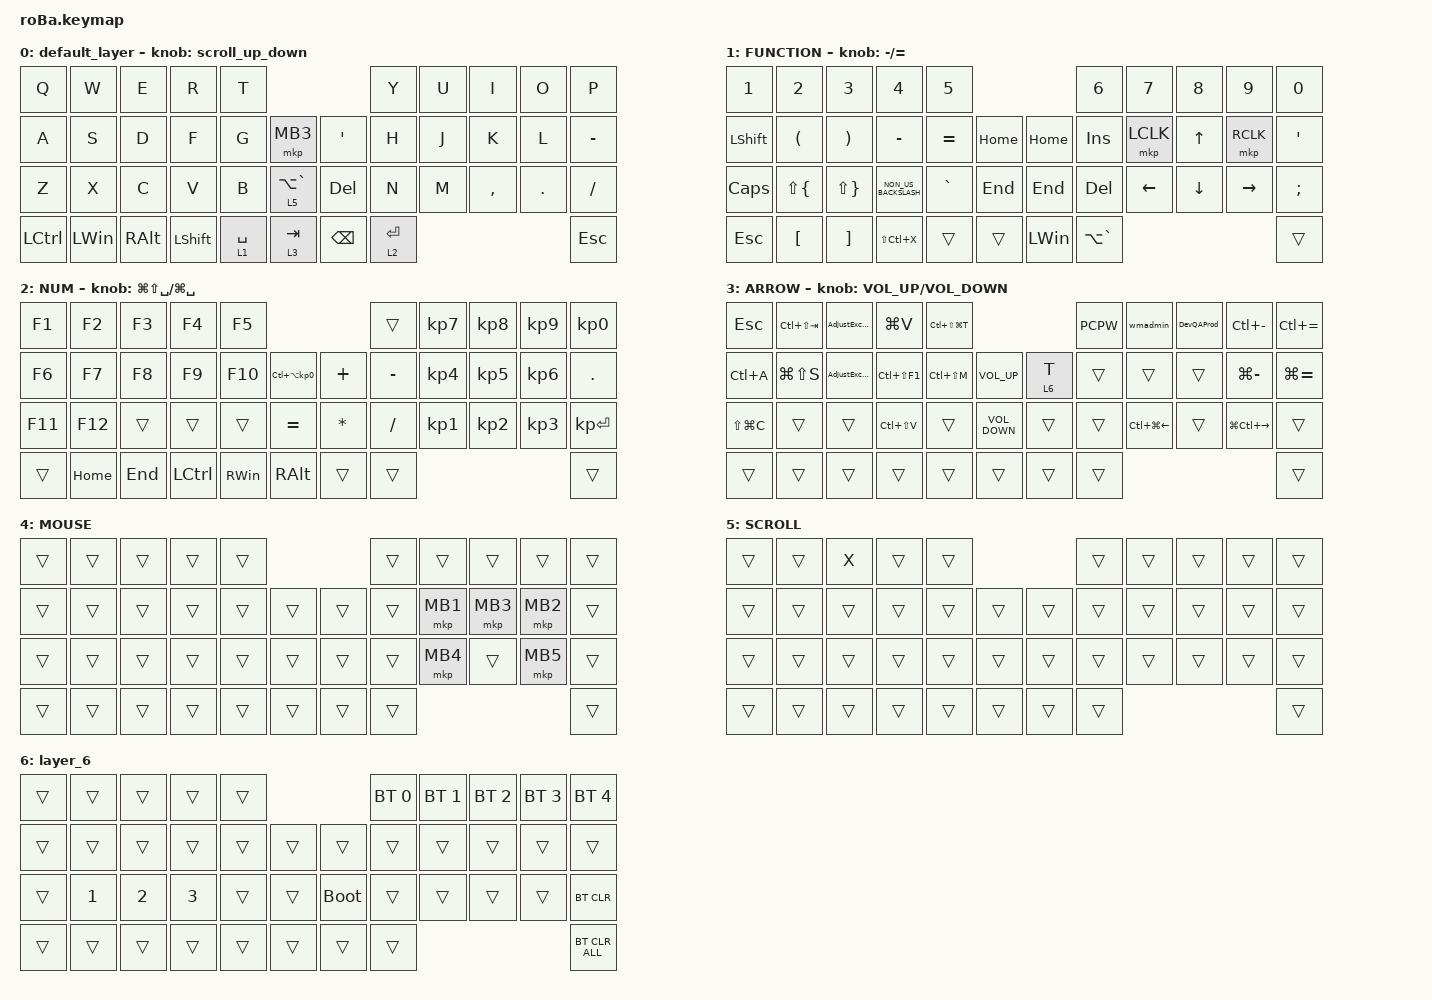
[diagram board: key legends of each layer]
#include <behaviors.dtsi>
#include <dt-bindings/zmk/bt.h>
#include <dt-bindings/zmk/keys.h>
#include <dt-bindings/zmk/pointing.h>
#include <dt-bindings/zmk/pointing.h>

#undef ZMK_POINTING_DEFAULT_SCRL_VAL

#define ZMK_POINTING_DEFAULT_SCRL_VAL 100
#define MOUSE 0
#define SCROLL 3
#define NUM 6

&mt {
    flavor = "balanced";
    quick-tap-ms = <0>;
};

/ {
    behaviors {
        scroll_up_down: behavior_sensor_rotate_mouse_wheel_up_down {
            compatible = "zmk,behavior-sensor-rotate";
            #sensor-binding-cells = <0>;
            bindings = <&msc SCRL_UP>, <&msc SCRL_DOWN>;

            tap-ms = <20>;
        };
    };

    combos { compatible = "zmk,combos"; };

    macros {
        to_layer_0: to_layer_0 {
            compatible = "zmk,behavior-macro-one-param";
            #binding-cells = <1>;
            bindings = <&to 0 &macro_param_1to1 &kp MACRO_PLACEHOLDER>;
            label = "TO_LAYER_0";
        };

        PCPW: PCPW {
            compatible = "zmk,behavior-macro";
            #binding-cells = <0>;
            bindings = <&kp LS(D) &kp N &kp A &kp W &kp O &kp D &kp E &kp NUMBER_1 &kp NUMBER_2 &kp NUMBER_3>;
            label = "PCPW";
        };

        wmadmin: wmadmin {
            compatible = "zmk,behavior-macro";
            #binding-cells = <0>;
            bindings = <&kp HOME &kp LS(END) &kp W &kp M &kp A &kp D &kp M &kp I &kp N &kp TAB &kp W &kp I &kp S &kp M &kp E &kp T &kp T &kp A &kp C &kp N1 &kp ENTER>;
            label = "WMADMIN";
        };

        DevQAProd: DevQAProd {
            compatible = "zmk,behavior-macro";
            #binding-cells = <0>;
            bindings = <&kp HOME &kp LS(END) &kp J &kp I &kp Z &kp H &kp O &kp U &kp TAB &kp LS(D) &kp N &kp A &kp W &kp O &kp D &kp E &kp AT &kp N1 &kp N2 &kp N3 &kp ENTER>;
            label = "DEVQAPROD";
        };

        AdjustExcelWidth: AdjustExcelWidth {
            compatible = "zmk,behavior-macro";
            #binding-cells = <0>;
            bindings = <&kp LEFT_ALT &kp H &kp O &kp I>;
            label = "ADJUSTEXCELWIDTH";
        };

        AdjustExcelHeight: AdjustExcelHeight {
            compatible = "zmk,behavior-macro";
            #binding-cells = <0>;
            bindings = <&kp LEFT_ALT &kp H &kp O &kp A>;
            label = "ADJUSTEXCELHEIGHT";
        };
    };

    keymap {
        compatible = "zmk,keymap";

        default_layer {
            bindings = <
&kp Q      &kp W         &kp E          &kp R       &kp T                                               &kp Y        &kp U  &kp I      &kp O    &kp P
&kp A      &kp S         &kp D          &kp F       &kp G        &mkp MB3             &kp SINGLE_QUOTE  &kp H        &kp J  &kp K      &kp L    &kp MINUS
&kp Z      &kp X         &kp C          &kp V       &kp B        &lt 5 LA(GRAVE)      &kp DELETE        &kp N        &kp M  &kp COMMA  &kp DOT  &kp SLASH
&kp LCTRL  &kp LEFT_WIN  &kp RIGHT_ALT  &kp LSHIFT  &lt 1 SPACE  &lt 3 TAB            &kp BACKSPACE     &lt 2 ENTER                             &kp ESCAPE
            >;

            sensor-bindings = <&scroll_up_down>;
        };

        FUNCTION {
            bindings = <
&kp NUMBER_1    &kp NUMBER_2          &kp NUMBER_3         &kp NUMBER_4          &kp NUMBER_5                              &kp NUMBER_6   &kp N7     &kp N8        &kp N9     &kp N0
&kp LEFT_SHIFT  &kp LEFT_PARENTHESIS  &kp RPAR             &kp MINUS             &kp EQUAL     &kp HOME      &kp HOME      &kp INSERT     &mkp LCLK  &kp UP_ARROW  &mkp RCLK  &kp SQT
&kp CAPSLOCK    &kp LS(LEFT_BRACE)    &kp LS(RIGHT_BRACE)  &kp NON_US_BACKSLASH  &kp GRAVE     &kp END       &kp END       &kp DELETE     &kp LEFT   &kp DOWN      &kp RIGHT  &kp SEMICOLON
&kp ESC         &kp LEFT_BRACKET      &kp RIGHT_BRACKET    &kp LS(LC(X))         &trans        &trans        &kp LEFT_WIN  &kp LA(GRAVE)                                      &trans
            >;

            sensor-bindings = <&inc_dec_kp MINUS EQUAL>;
        };

        NUM {
            bindings = <
&kp F1   &kp F2    &kp F3   &kp F4     &kp F5                                                    &trans     &kp KP_NUMBER_7  &kp KP_NUMBER_8  &kp KP_NUMBER_9  &kp KP_NUMBER_0
&kp F6   &kp F7    &kp F8   &kp F9     &kp F10        &kp LC(LA(KP_NUMBER_0))      &kp PLUS      &kp MINUS  &kp KP_NUMBER_4  &kp KP_NUMBER_5  &kp KP_NUMBER_6  &kp PERIOD
&kp F11  &kp F12   &trans   &trans     &trans         &kp EQUAL                    &kp ASTERISK  &kp SLASH  &kp KP_NUMBER_1  &kp KP_NUMBER_2  &kp KP_NUMBER_3  &kp KP_ENTER
&trans   &kp HOME  &kp END  &kp LCTRL  &kp RIGHT_WIN  &kp RIGHT_ALT                &trans        &trans                                                        &trans
            >;

            sensor-bindings = <&inc_dec_kp LG(LS(SPACE)) LG(SPACE)>;
        };

        ARROW {
            bindings = <
&kp ESCAPE     &kp LC(LS(TAB))  &AdjustExcelHeight  &kp LG(V)       &kp LC(LS(LG(T)))                                  &PCPW   &wmadmin          &DevQAProd  &kp LC(MINUS)      &kp LC(EQUAL)
&kp LC(A)      &kp LG(LS(S))    &AdjustExcelWidth   &kp LC(LS(F1))  &kp LC(LS(M))      &kp C_VOLUME_UP        &lt 6 T  &trans  &trans            &trans      &kp LG(MINUS)      &kp LG(EQUAL)
&kp LS(LG(C))  &trans           &trans              &kp LC(LS(V))   &trans             &kp C_VOLUME_DOWN      &trans   &trans  &kp LC(LG(LEFT))  &trans      &kp LG(LC(RIGHT))  &trans
&trans         &trans           &trans              &trans          &trans             &trans                 &trans   &trans                                                   &trans
            >;

            sensor-bindings = <&inc_dec_kp C_VOLUME_UP C_VOLUME_DOWN>;
        };

        MOUSE {
            bindings = <
&trans  &trans  &trans  &trans  &trans                      &trans  &trans    &trans    &trans    &trans
&trans  &trans  &trans  &trans  &trans  &trans      &trans  &trans  &mkp MB1  &mkp MB3  &mkp MB2  &trans
&trans  &trans  &trans  &trans  &trans  &trans      &trans  &trans  &mkp MB4  &trans    &mkp MB5  &trans
&trans  &trans  &trans  &trans  &trans  &trans      &trans  &trans                                &trans
            >;
        };

        SCROLL {
            bindings = <
&trans  &trans  &kp X   &trans  &trans                      &trans  &trans  &trans  &trans  &trans
&trans  &trans  &trans  &trans  &trans  &trans      &trans  &trans  &trans  &trans  &trans  &trans
&trans  &trans  &trans  &trans  &trans  &trans      &trans  &trans  &trans  &trans  &trans  &trans
&trans  &trans  &trans  &trans  &trans  &trans      &trans  &trans                          &trans
            >;
        };

        layer_6 {
            bindings = <
&trans  &trans        &trans        &trans        &trans                           &bt BT_SEL 0  &bt BT_SEL 1  &bt BT_SEL 2  &bt BT_SEL 3  &bt BT_SEL 4
&trans  &trans        &trans        &trans        &trans  &trans      &trans       &trans        &trans        &trans        &trans        &trans
&trans  &kp NUMBER_1  &kp NUMBER_2  &kp NUMBER_3  &trans  &trans      &bootloader  &trans        &trans        &trans        &trans        &bt BT_CLR
&trans  &trans        &trans        &trans        &trans  &trans      &trans       &trans                                                  &bt BT_CLR_ALL
            >;
        };
    };
};
